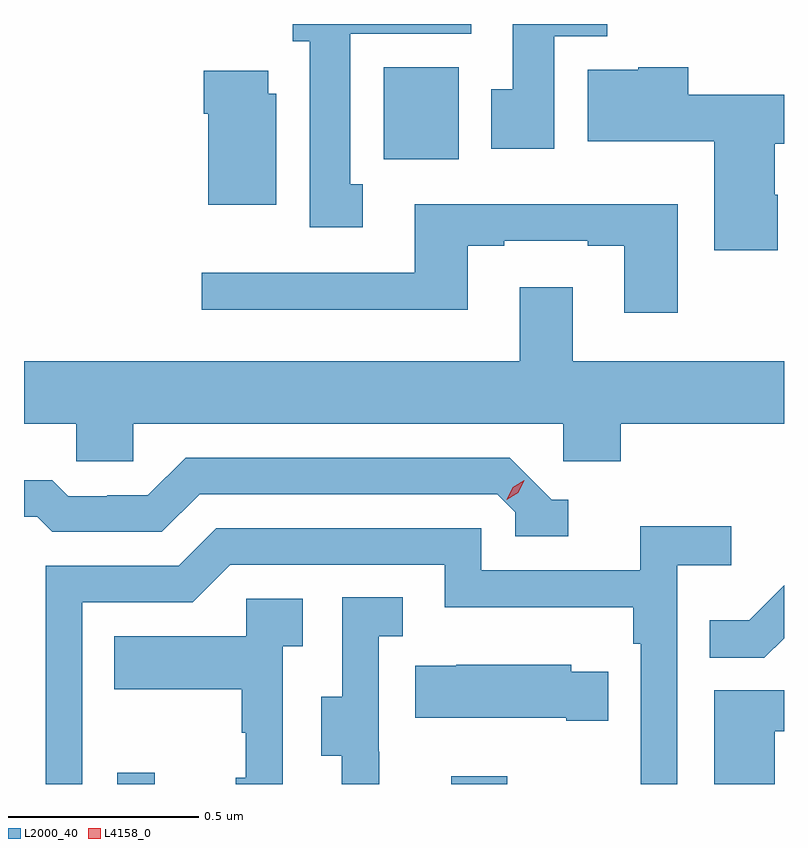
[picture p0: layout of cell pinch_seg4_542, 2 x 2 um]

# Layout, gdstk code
import gdstk
lib = gdstk.Library(unit=1e-6, precision=1e-09)
def R(c, l, rs):  # rectangles x0, y0, x1, y1
    for r in rs: c.add(gdstk.rectangle(r[:2], r[2:], *l))
def P(c, l, *ps):  # polygons
    for p in ps: c.add(gdstk.Polygon(p, *l))
L2000_40 = (2000, 40)
L4158_0 = (4158, 0)

pinch_seg4_542 = lib.new_cell('pinch_seg4_542')
R(pinch_seg4_542, L2000_40, [(1121.925,771.896,1122.023,771.925), (1122.803,771.896,1122.951,771.916), (1122.626,773.54,1122.823,773.782)])
P(pinch_seg4_542, L2000_40, [(1122.571,773.474),(1122.538,773.474),(1122.538,773.87),(1122.856,773.87),(1122.856,773.896),(1122.386,773.896),(1122.386,773.85),(1122.431,773.85),(1122.431,773.361),(1122.571,773.361)],
  [(1123.075,773.864),(1123.214,773.864),(1123.214,773.896),(1122.965,773.896),(1122.965,773.724),(1122.908,773.724),(1122.908,773.568),(1123.075,773.568)],
  [(1123.662,773.447),(1123.654,773.447),(1123.654,773.581),(1123.679,773.581),(1123.679,773.71),(1123.427,773.71),(1123.427,773.782),(1123.296,773.782),(1123.296,773.776),(1123.163,773.776),(1123.163,773.588),(1123.496,773.588),(1123.496,773.301),(1123.662,773.301)],
  [(1122.343,773.712),(1122.322,773.712),(1122.322,773.773),(1122.152,773.773),(1122.152,773.66),(1122.164,773.66),(1122.164,773.42),(1122.343,773.42)],
  [(1123.399,773.422),(1122.707,773.422),(1122.707,773.241),(1122.147,773.241),(1122.147,773.144),(1122.847,773.144),(1122.847,773.313),(1122.943,773.313),(1122.943,773.325),(1123.163,773.325),(1123.163,773.313),(1123.259,773.313),(1123.259,773.136),(1123.399,773.136)],
  [(1121.967,772.844),(1123.098,772.844),(1123.098,772.746),(1123.25,772.746),(1123.25,772.844),(1123.679,772.844),(1123.679,773.008),(1123.123,773.008),(1123.123,773.203),(1122.983,773.203),(1122.983,773.008),(1121.679,773.008),(1121.679,772.844),(1121.817,772.844),(1121.817,772.746),(1121.967,772.746)],
  [(1123.111,772.644),(1123.068,772.644),(1122.957,772.755),(1122.104,772.755),(1122.005,772.656),(1121.898,772.656),(1121.898,772.653),(1121.795,772.653),(1121.753,772.696),(1121.679,772.696),(1121.679,772.599),(1121.714,772.599),(1121.753,772.56),(1122.042,772.56),(1122.141,772.659),(1122.924,772.659),(1122.972,772.611),(1122.972,772.548),(1123.111,772.548)],
  [(1121.832,772.374),(1122.123,772.374),(1122.222,772.473),(1122.786,772.473),(1122.786,772.361),(1123.282,772.361),(1123.282,772.265),(1123.302,772.265),(1123.302,771.896),(1123.398,771.896),(1123.398,772.472),(1123.54,772.472),(1123.54,772.574),(1123.301,772.574),(1123.301,772.458),(1122.882,772.458),(1122.882,772.569),(1122.185,772.569),(1122.086,772.47),(1121.736,772.47),(1121.736,771.896),(1121.832,771.896)],
  [(1123.679,772.28),(1123.679,772.419),(1123.587,772.327),(1123.483,772.327),(1123.483,772.228),(1123.627,772.228)],
  [(1122.614,771.981),(1122.612,771.981),(1122.612,772.285),(1122.676,772.285),(1122.676,772.388),(1122.516,772.388),(1122.516,772.125),(1122.461,772.125),(1122.461,771.97),(1122.515,771.97),(1122.515,771.896),(1122.614,771.896)],
  [(1122.36,772.259),(1122.412,772.259),(1122.412,772.383),(1122.264,772.383),(1122.264,772.285),(1121.917,772.285),(1121.917,772.145),(1122.252,772.145),(1122.252,772.031),(1122.262,772.031),(1122.262,771.912),(1122.236,771.912),(1122.236,771.896),(1122.36,771.896)],
  [(1123.217,772.192),(1123.119,772.192),(1123.119,772.21),(1122.817,772.21),(1122.817,772.207),(1122.709,772.207),(1122.709,772.07),(1123.106,772.07),(1123.106,772.063),(1123.217,772.063)],
  [(1123.654,772.035),(1123.679,772.035),(1123.679,772.143),(1123.496,772.143),(1123.496,771.896),(1123.654,771.896)])
P(pinch_seg4_542, L4158_0, [(1122.949,772.644),(1122.949,772.644),(1122.965,772.677),(1122.996,772.696),(1122.996,772.696),(1122.996,772.696),(1122.98,772.663),(1122.949,772.644)])

lib.write_gds('pinch_seg4_542.gds')
